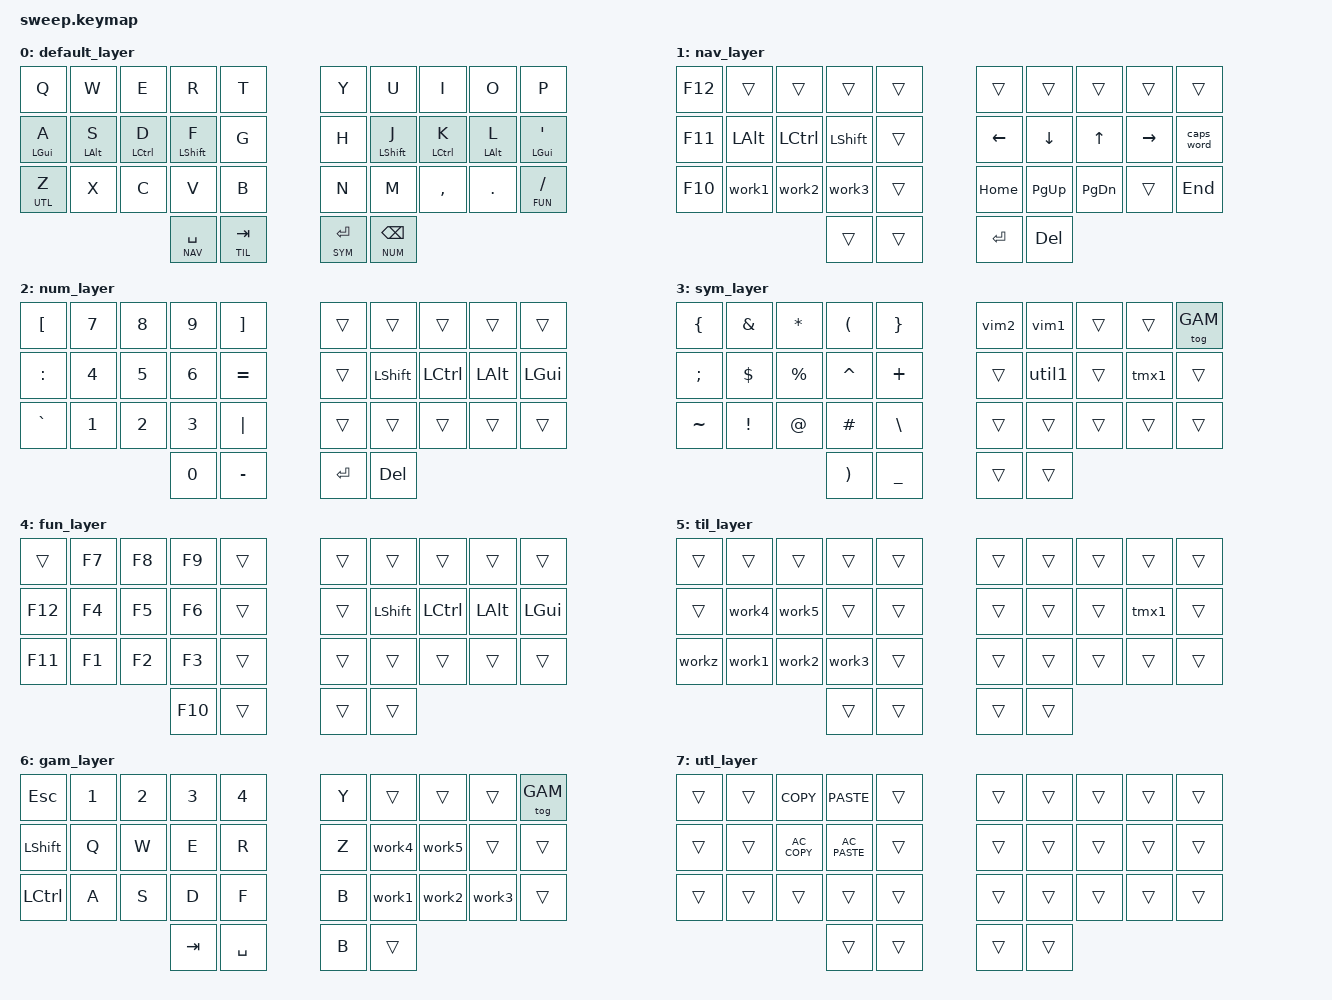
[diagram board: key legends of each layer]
// Copyright (c) 2022 The ZMK Contributors
// SPDX-License-Identifier: MIT

#include <behaviors.dtsi>
#include <dt-bindings/zmk/keys.h>
#include <dt-bindings/zmk/bt.h>
 
#define DEFAU 0
#define NAV 1
#define NUM 2
#define SYM 3
#define FUN 4
#define TIL 5
#define GAM 6
#define UTL 7

/ {
    behaviors {
        hm: homerow_mods {
            compatible = "zmk,behavior-hold-tap";
            label = "HOMEROW_MODS";
            #binding-cells = <2>;
            tapping-term-ms = <200>;
            quick-tap-ms = <0>;
            flavor = "tap-preferred";
            bindings = <&kp>, <&kp>;
        };

        hk: homerow_hold {
            compatible = "zmk,behavior-hold-tap";
            label = "HOLD_MOD";
            #binding-cells = <2>;
            tapping-term-ms = <150>;
            quick-tap-ms = <0>;
            flavor = "balanced";
            bindings = <&kp>, <&kp>;
        };

        hs: hold_custom {
            compatible = "zmk,behavior-hold-tap";
            label = "HOLD_CUSTOM";
            #binding-cells = <2>;
            tapping-term-ms = <500>;
            quick-tap-ms = <0>;
            flavor = "tap-preferred";
            bindings = <&kp>, <&kp>;
        };

    };
    
    combos {
        compatible = "zmk,combos";
        combo_esc {
            timeout-ms = <50>;
            key-positions = <30 31>;
            bindings = <&kp ESC>;
        };
        
        combo_gam {
            timeout-ms = <50>;
            key-positions = <30 31>;
            bindings = <&kp LALT>;
            layers = <6>;
        };
    };

    macros {
          workz: workz {
              label = "ZM_workz";
              compatible = "zmk,behavior-macro";
              #binding-cells = <0>;
              bindings
                  = <&macro_press &kp LALT>
                  , <&macro_tap &kp Z>
                  , <&macro_release &kp LALT>
                  ;
          };
          
          work1: work1 {
              label = "ZM_work1";
              compatible = "zmk,behavior-macro";
              #binding-cells = <0>;
              bindings
                  = <&macro_press &kp LALT>
                  , <&macro_tap &kp N1>
                  , <&macro_release &kp LALT>
                  ;
          };

          work2: work2 {
              label = "ZM_work2";
              compatible = "zmk,behavior-macro";
              #binding-cells = <0>;
              bindings
                  = <&macro_press &kp LALT>
                  , <&macro_tap &kp N2>
                  , <&macro_release &kp LALT>
                  ;
          };

          work3: work3 {
              label = "ZM_work3";
              compatible = "zmk,behavior-macro";
              #binding-cells = <0>;
              bindings
                  = <&macro_press &kp LALT>
                  , <&macro_tap &kp N3>
                  , <&macro_release &kp LALT>
                  ;
          };

          work4: work4 {
              label = "ZM_work4";
              compatible = "zmk,behavior-macro";
              #binding-cells = <0>;
              bindings
                  = <&macro_press &kp LALT>
                  , <&macro_tap &kp N4>
                  , <&macro_release &kp LALT>
                  ;
          };
          
          work5: work5 {
              label = "ZM_work5";
              compatible = "zmk,behavior-macro";
              #binding-cells = <0>;
              bindings
                  = <&macro_press &kp LALT>
                  , <&macro_tap &kp N5>
                  , <&macro_release &kp LALT>
                  ;
          };

          tmx1: tmx1 {
              label = "ZM_tmx1";
              compatible = "zmk,behavior-macro";
              #binding-cells = <0>;
              bindings
                  = <&macro_press &kp LCTRL>
                  , <&macro_tap &kp A>
                  , <&macro_release &kp LCTRL>
                  , <&macro_tap &kp L>
                  ;
          };

          vim1: vim1 {
              label = "ZM_vim1";
              compatible = "zmk,behavior-macro";
              #binding-cells = <0>;
              bindings
                  = <&macro_tap &kp C &kp I &kp DQT>
                  ;
          };
          
          vim2: vim2 {
              label = "ZM_vim2";
              compatible = "zmk,behavior-macro";
              #binding-cells = <0>;
              bindings
                  = <&macro_tap &kp C &kp I &kp LPAR>
                  ;
          };

          util1: util1 {
              label = "ZM_util1";
              compatible = "zmk,behavior-macro";
              #binding-cells = <0>;
              bindings
                  = <&macro_tap &kp END >
                  , <&macro_press &kp LSHIFT >
                  , <&macro_tap &kp HOME >
                  , <&macro_release &kp LSHIFT >
                  ;
          };
          
          cpMacOS: cpMacOS {
              label = "ZM_util1";
              compatible = "zmk,behavior-macro";
              #binding-cells = <0>;
              bindings
                  = <&macro_press &kp END >
                  , <&macro_tap &kp C>
                  , <&macro_release &kp LSHIFT >
                  ;
          };
    };
  
    keymap {
        compatible = "zmk,keymap";
        default_layer {
            bindings = <
            &kp Q          &kp W          &kp E           &kp R            &kp T          &kp Y      &kp U           &kp I          &kp O        &kp P
            &hk LGUI A     &hk LALT S     &hk LCTRL D     &hk LSHIFT F     &kp G          &kp H      &hk LSHIFT J    &hk LCTRL K    &hk LALT L   &hk LGUI SQT
            &lt UTL Z      &kp X          &kp C           &kp V            &kp B          &kp N      &kp M           &kp COMMA      &kp DOT      &lt FUN FSLH
                                        &lt NAV SPACE   &lt TIL TAB      &lt SYM RET    &lt NUM BSPC
            >;
        };
        
        nav_layer {
            bindings = <
            &kp F12   &trans       &trans     &trans       &trans       &trans     &trans     &trans     &trans     &trans
            &kp F11   &kp LALT     &kp LCTRL  &kp LSHIFT   &trans       &kp LEFT   &kp DOWN   &kp UP     &kp RIGHT  &caps_word 
            &kp F10   &work1       &work2     &work3       &trans       &kp HOME   &kp PG_UP  &kp PG_DN  &trans     &kp END
                                                       &trans       &trans     &kp RET    &kp DEL
            >;
        };
        
        num_layer {
            bindings = <
            &kp LBKT    &kp N7       &kp N8     &kp N9    &kp RBKT     &trans     &trans     &trans     &trans     &trans
            &kp COLON   &kp N4       &kp N5     &kp N6    &kp EQUAL    &trans     &kp LSHIFT &kp LCTRL  &kp LALT   &kp LGUI
            &kp GRAVE   &kp N1       &kp N2     &kp N3    &kp PIPE     &trans     &trans     &trans     &trans     &trans
                                                  &kp N0       &kp MINUS   &kp RET    &kp DEL
            >;
        };
        
        sym_layer {
            bindings = <
              &kp LBRC   &kp AMPS     &kp ASTRK  &kp LPAR  &kp RBRC     &vim2      &vim1      &trans     &trans     &tog GAM
              &kp SEMI   &kp DOLLAR   &kp PRCNT  &kp CARET &kp PLUS     &trans     &util1     &trans     &tmx1      &trans
              &kp TILDE  &kp EXCL     &kp AT     &kp HASH  &kp BSLH     &trans     &trans     &trans     &trans     &trans
                                                           &kp RPAR     &kp UNDER  &trans     &trans
            >;
        };

        fun_layer {
            bindings = <
            &trans    &kp F7       &kp F8     &kp F9    &trans       &trans     &trans     &trans     &trans     &trans
            &kp F12   &kp F4       &kp F5     &kp F6    &trans       &trans     &kp LSHIFT &kp LCTRL  &kp LALT   &kp LGUI
            &kp F11   &kp F1       &kp F2     &kp F3    &trans       &trans     &trans     &trans     &trans     &trans
                                                        &kp F10      &trans     &trans     &trans
            >;
        };
        
        til_layer {
            bindings = <
            &trans   &trans       &trans     &trans    &trans       &trans     &trans     &trans     &trans     &trans
            &trans   &work4       &work5     &trans    &trans       &trans     &trans     &trans     &tmx1      &trans
            &workz   &work1       &work2     &work3    &trans       &trans     &trans     &trans     &trans     &trans
                                                        &trans       &trans     &trans     &trans
            >;
        };
        
        gam_layer {
            bindings = <
            &kp ESC     &kp N1       &kp N2    &kp N3    &kp N4      &kp Y     &trans     &trans     &trans     &tog GAM
            &kp LSHIFT  &kp Q        &kp W     &kp E     &kp R       &kp Z     &work4     &work5     &trans     &trans
            &kp LCTRL   &kp A        &kp S     &kp D     &kp F       &kp B     &work1     &work2     &work3     &trans
                                                    &kp TAB       &kp SPACE     &kp B     &trans
            >;
        };
        
        utl_layer {
            bindings = <
            &trans  &trans   &kp K_COPY     &kp K_PASTE     &trans     &trans  &trans   &trans    &trans    &trans
            &trans  &trans   &kp C_AC_COPY  &kp C_AC_PASTE  &trans     &trans  &trans   &trans    &trans    &trans
            &trans  &trans   &trans         &trans          &trans     &trans  &trans   &trans    &trans    &trans
                                       &trans    &trans     &trans  &trans
            >;
        };
    };
};
